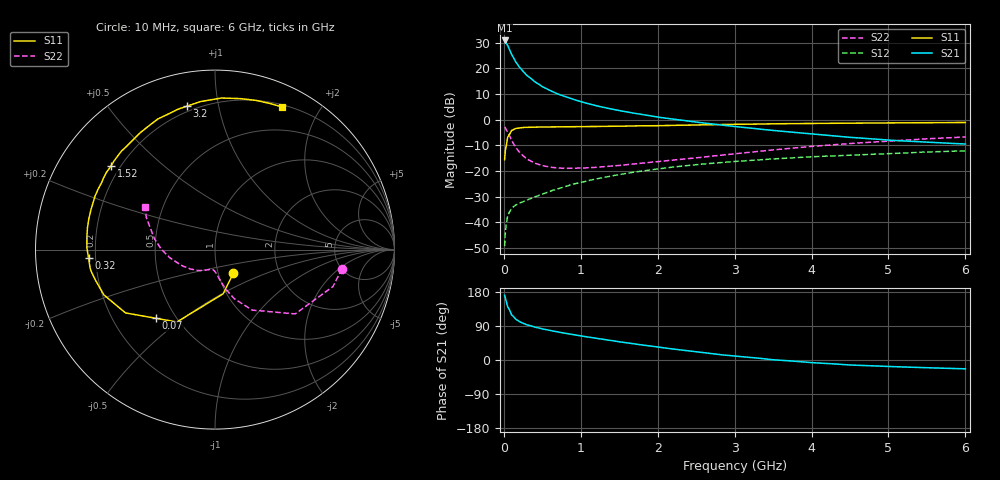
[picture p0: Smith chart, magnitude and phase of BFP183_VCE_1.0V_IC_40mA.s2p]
! Infineon Technologies  Discrete & RF Semiconductors
! BFP183
! VCE = 1.0 V,  IC =  40 mA
! Common Emitter S-Parameters:  Jan 2016
# GHz  S  MA  R  50
!  f  S11  S21  S12  S22
! GHz  MAG  ANG  MAG  ANG  MAG  ANG  MAG  ANG
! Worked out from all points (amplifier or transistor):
!   210 points, 10 MHz to 6 GHz, reference 50 ohm
!   highest |S21| = 30.9 dB at 10 MHz (marker M1)
!   |S21| within 3 dB of that: start of sweep to 65.85 MHz
!   unconditionally stable (mu >= 1): start of sweep to 25.37 MHz; 208.2 MHz to end of sweep
!   at 185 MHz: K = 0.93, MSG = 27.0 dB, |S12| = -32.8 dB
!   at 1.52 GHz: K = 1.78, MAG = 7.3 dB, |S12| = -21.4 dB
!   at 6 GHz: K = 1.42, MAG = -2.5 dB, |S12| = -12.2 dB
!   S11 on the Smith chart (normalised r, x): 10 MHz: 1.18, -0.32; 70 MHz: 0.39, -0.40; 320 MHz: 0.17, -0.03; 1.52 GHz: 0.16, +0.34; 3.2 GHz: 0.17, +0.81; 6 GHz: 0.22, +1.55
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0.01  0.1661 -51.7  34.94 170.9  0.0034 72.5  0.7152 -8.6
0.02  0.2502 -79.5  33.86 162.2  0.0065 68.2  0.6887 -17.4
0.05  0.4559 -117.8  27.94 140.3  0.0134 58.2  0.573 -38.7
0.07  0.5036 -130.5  23.93 133.9  0.0154 51.5  0.4955 -44.9
0.1  0.6106 -144.7  18.79 119.4  0.0186 44.3  0.3953 -58.5
0.15  0.6685 -157.8  13.69 108.4  0.0214 42.1  0.2923 -68.7
0.2  0.6873 -165.6  10.64 101.4  0.0234 41.8  0.2334 -74.2
0.26  0.7032 -171.5  8.355 95.8  0.0254 43.8  0.1915 -78.5
0.3  0.7051 -174.9  7.256 92.8  0.0269 45.5  0.1705 -81.0
0.32  0.7062 -176.1  6.901 91.9  0.0277 46.4  0.1647 -81.7
0.4  0.714 179.0  5.505 86.9  0.031 49.6  0.1417 -85.2
0.5  0.7174 174.1  4.399 82.1  0.0351 51.1  0.1266 -88.5
0.6  0.721 170.2  3.7 77.8  0.0401 54.2  0.1181 -91.7
0.8  0.7259 162.6  2.788 70.4  0.0494 56.5  0.1121 -97.1
1.02  0.7317 155.5  2.196 63.1  0.0604 57.2  0.1133 -103.0
1.52  0.7434 141.2  1.482 47.5  0.0855 55.4  0.1284 -116.5
2.02  0.761 127.6  1.108 33.7  0.1099 50.8  0.1522 -130.3
3.1  0.811 103.0  0.709 8.6  0.156 39.0  0.2225 -160.9
3.2  0.8141 101.1  0.684 6.9  0.1596 37.9  0.2304 -163.4
4.1  0.8459 86.1  0.51 -8.0  0.191 28.3  0.308 177.3
5.1  0.863 73.6  0.39 -17.7  0.2197 18.9  0.3876 160.2
6  0.8778 65.0  0.334 -23.3  0.2452 9.3  0.458 148.5
